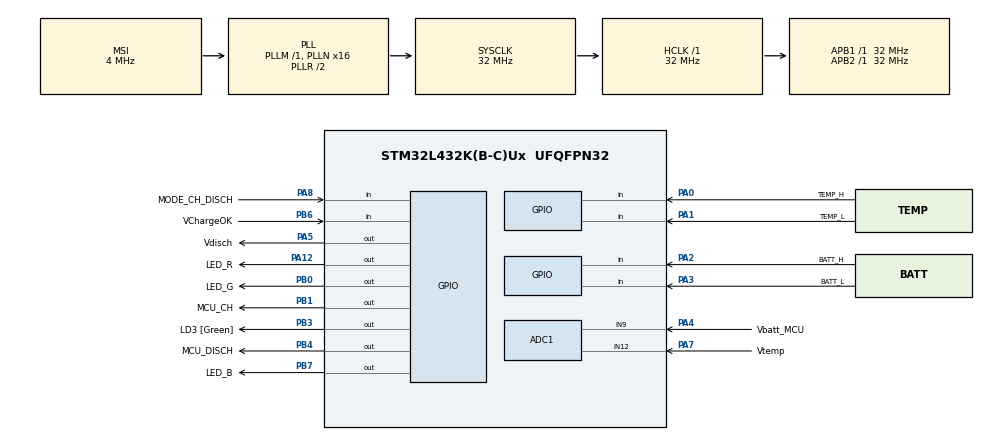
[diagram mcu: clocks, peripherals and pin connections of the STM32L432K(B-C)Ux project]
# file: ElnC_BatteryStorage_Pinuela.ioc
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ADC1.Channel-1\#ChannelRegularConversion=ADC_CHANNEL_9
ADC1.NbrOfConversionFlag=1
ADC1.OffsetNumber-1\#ChannelRegularConversion=ADC_OFFSET_NONE
ADC1.Rank-1\#ChannelRegularConversion=1
ADC1.SamplingTime-1\#ChannelRegularConversion=ADC_SAMPLETIME_2CYCLES_5
ADC1.master=1
Mcu.Family=STM32L4
Mcu.Name=STM32L432K(B-C)Ux
Mcu.Package=UFQFPN32
NVIC.PriorityGroup=NVIC_PRIORITYGROUP_4
PA0.GPIO_Label=TEMP_H
PA0.Signal=GPIO_Input
PA1.GPIO_Label=TEMP_L
PA1.Signal=GPIO_Input
PA12.GPIO_Label=LED_R
PA12.PinState=GPIO_PIN_SET
PA12.Signal=GPIO_Output
PA13\ (JTMS-SWDIO).GPIO_Label=SWDIO
PA13\ (JTMS-SWDIO).Mode=Serial_Wire
PA13\ (JTMS-SWDIO).Signal=SYS_JTMS-SWDIO
PA14\ (JTCK-SWCLK).GPIO_Label=SWCLK
PA14\ (JTCK-SWCLK).Mode=Serial_Wire
PA14\ (JTCK-SWCLK).Signal=SYS_JTCK-SWCLK
PA15\ (JTDI).GPIO_Label=VCP_RX
PA15\ (JTDI).Signal=USART2_RX
PA2.GPIO_Label=BATT_H
PA2.Signal=GPIO_Input
PA3.GPIO_Label=BATT_L
PA3.Signal=GPIO_Input
PA4.GPIO_Label=Vbatt_MCU
PA4.Signal=ADCx_IN9
PA5.GPIO_Label=Vdisch
PA5.Signal=GPIO_Output
PA7.GPIO_Label=Vtemp
PA7.Signal=ADCx_IN12
PA8.GPIO_Label=MODE_CH_DISCH
PA8.Signal=GPIO_Input
PB0.GPIO_Label=LED_G
PB0.PinState=GPIO_PIN_SET
PB0.Signal=GPIO_Output
PB1.GPIO_Label=MCU_CH
PB1.Signal=GPIO_Output
PB3\ (JTDO-TRACESWO).GPIO_Label=LD3 [Green]
PB3\ (JTDO-TRACESWO).Signal=GPIO_Output
PB4\ (NJTRST).GPIO_Label=MCU_DISCH
PB4\ (NJTRST).Signal=GPIO_Output
PB6.GPIO_Label=VChargeOK
PB6.Signal=GPIO_Input
PB7.GPIO_Label=LED_B
PB7.PinState=GPIO_PIN_SET
PB7.Signal=GPIO_Output
PC14-OSC32_IN\ (PC14).Mode=LSE-External-Oscillator
PC14-OSC32_IN\ (PC14).Signal=RCC_OSC32_IN
PC15-OSC32_OUT\ (PC15).Mode=LSE-External-Oscillator
PC15-OSC32_OUT\ (PC15).Signal=RCC_OSC32_OUT
ProjectManager.HeapSize=0x200
ProjectManager.StackSize=0x400
ProjectManager.TargetToolchain=STM32CubeIDE
RCC.ADCFreq_Value=32000000
RCC.AHBFreq_Value=32000000
RCC.APB1Freq_Value=32000000
RCC.APB1TimFreq_Value=32000000
RCC.APB2Freq_Value=32000000
RCC.APB2TimFreq_Value=32000000
RCC.CortexFreq_Value=32000000
RCC.HCLKFreq_Value=32000000
RCC.HSE_VALUE=8000000
RCC.HSI16_VALUE=16000000
RCC.HSI48_VALUE=48000000
RCC.HSI_VALUE=16000000
RCC.MSI_VALUE=4000000
RCC.PLLMUL=RCC_PLLMUL_4
RCC.PLLN=16
RCC.PLLSAI1N=16
RCC.SYSCLKFreq_VALUE=32000000
RCC.SYSCLKSource=RCC_SYSCLKSOURCE_PLLCLK
RCC.USBFreq_Value=32000000
RCC.VCOOutputFreq_Value=64000000
SH.ADCx_IN12.0=ADC1_IN12,IN12-Single-Ended
SH.ADCx_IN9.0=ADC1_IN9,IN9-Single-Ended
board=NUCLEO-L432KC

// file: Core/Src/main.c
/* USER CODE BEGIN Header */
/**
  ******************************************************************************
  * @file           : main.c
  * @brief          : Main program body
  ******************************************************************************
  * @attention
  *
  * Copyright (c) 2026 STMicroelectronics.
  * All rights reserved.
  *
  * This software is licensed under terms that can be found in the LICENSE file
  * in the root directory of this software component.
  * If no LICENSE file comes with this software, it is provided AS-IS.
  *
  ******************************************************************************
  */
/* USER CODE END Header */
#include "main.h"

/* USER CODE BEGIN Includes */
#include <stdio.h>
#include <string.h>
#include <stdbool.h>

/* USER CODE END Includes */

/* USER CODE BEGIN PD */

#define VBATT_STOCK_MIN     3.5f
#define VBATT_STOCK_MAX     3.8f
#define VBATT_FULL_CHARGE   4.1f

/* ===== LEDs Active LOW ===== */

#define LED_ON   GPIO_PIN_RESET
#define LED_OFF  GPIO_PIN_SET

/* ===== Macros Debug LEDs ===== */

#define SET_LED_R(state) do {                                      \
    signal_1_0.LED_R = (state);                                    \
    HAL_GPIO_WritePin(LED_R_GPIO_Port, LED_R_Pin,                  \
                      (state) ? LED_ON : LED_OFF);                 \
} while(0)

#define SET_LED_G(state) do {                                      \
    signal_1_0.LED_G = (state);                                    \
    HAL_GPIO_WritePin(LED_G_GPIO_Port, LED_G_Pin,                  \
                      (state) ? LED_ON : LED_OFF);                 \
} while(0)

#define SET_LED_B(state) do {                                      \
    signal_1_0.LED_B = (state);                                    \
    HAL_GPIO_WritePin(LED_B_GPIO_Port, LED_B_Pin,                  \
                      (state) ? LED_ON : LED_OFF);                 \
} while(0)

/* USER CODE END PD */

ADC_HandleTypeDef hadc1;

void SystemClock_Config(void);
static void MX_GPIO_Init(void);
static void MX_ADC1_Init(void);

/* USER CODE BEGIN 0 */

typedef enum
{
    STATE_NORMAL = 0,
    STATE_STOCK,
    STATE_CHARGE_STOCK,
    STATE_DISCHARGE_STOCK,
    STATE_ERROR

} System_State;

System_State system_state = STATE_NORMAL;

typedef struct {
    volatile uint32_t adc_value_ch9;
    volatile uint32_t adc_value_ch12;

    volatile float voltage_ch9_Vbatt;
    volatile float voltage_ch12_Vtemp;
} Voltage;

typedef struct
{
	/* ===== INPUTS ===== */

    bool Temperature_High;   	// PA0 -> TEMP_H
    bool Temperature_Low;    	// PA1 -> TEMP_L

    bool Batterie_High;      	// PA2 -> BATT_H
    bool Batterie_Low;       	// PA3 -> BATT_L

    bool Mode_Stock; 			// PA8 -> MODE_STOCK

    bool Charge_OK;          	// PB6 -> VChargeOK

    bool Vdisch;                  // PA5 -> Vdisch

    /* ===== OUTPUTS ===== */

    bool LED_R;                   // PA12 -> LED_R
    bool LED_B;                   // PB7 -> LED_B
    bool LED_G;                   // PB0 -> LED_G

    bool MCU_CH;                  // PB1 -> MCU_CH
    bool MCU_DISCH;               // PB4 -> MCU_DISCH

} Signal_1_0;

Voltage voltage = {0};
Signal_1_0 signal_1_0 = {0};

/* USER CODE END 0 */

int main(void)
{

  /* USER CODE BEGIN 1 */

	void Update_LEDs(void)
	{
	    static bool blink_state = false;

	    /* ===== RESET DEBUG STATES ===== */

	    SET_LED_R(false);
	    SET_LED_G(false);
	    SET_LED_B(false);

	    /* ===== ERROR MODE ===== */

	    if(signal_1_0.Temperature_High == false ||
	       signal_1_0.Temperature_Low  == false ||
	       signal_1_0.Batterie_High    == false ||
	       signal_1_0.Batterie_Low     == false)
	    {
	        blink_state = !blink_state;

	        if(blink_state == true)
	        {
	            SET_LED_R(true);
	            SET_LED_B(true);
	        }
	        else
	        {
	            SET_LED_R(false);
	            SET_LED_B(false);
	        }

	        SET_LED_G(false);

	        return;
	    }

	    /* ===== NORMAL STATES ===== */

	    switch(system_state)
	    {
	        case STATE_NORMAL:

	            if(signal_1_0.MCU_CH == true)
	            {
	                /* Charge normale */

	                SET_LED_R(true);
	                SET_LED_G(false);
	                SET_LED_B(false);
	            }
	            else
	            {
	                /* Batterie OK */

	                SET_LED_R(false);
	                SET_LED_G(true);
	                SET_LED_B(false);
	            }

	            break;

	        case STATE_STOCK:

	            /* Zone stockage OK */

	            SET_LED_R(false);
	            SET_LED_G(true);
	            SET_LED_B(false);

	            break;

	        case STATE_CHARGE_STOCK:

	            /* Charge stockage */

	            SET_LED_R(true);
	            SET_LED_G(false);
	            SET_LED_B(false);

	            break;

	        case STATE_DISCHARGE_STOCK:

	            /* Décharge stockage */

	            SET_LED_R(false);
	            SET_LED_G(false);
	            SET_LED_B(true);

	            break;

	        case STATE_ERROR:

	            SET_LED_R(true);
	            SET_LED_G(false);
	            SET_LED_B(true);

	            break;

	        default:

	            SET_LED_R(false);
	            SET_LED_G(false);
	            SET_LED_B(false);

	            break;
	    }
	}

  /* USER CODE END 1 */

  /* MCU Configuration--------------------------------------------------------*/

  /* Reset of all peripherals, Initializes the Flash interface and the Systick. */
  HAL_Init();

  /* Configure the system clock */
  SystemClock_Config();

  /* Initialize all configured peripherals */
  MX_GPIO_Init();
  MX_ADC1_Init();

  /* Infinite loop */
  /* USER CODE BEGIN WHILE */
  while (1)
  {

	  char msg[100];
	  HAL_GPIO_TogglePin(GPIOB, GPIO_PIN_3); // Toggle LD3

	  /* ===== ADC ===== */

	  ADC_ChannelConfTypeDef sConfig = {0};

	  /* ===== PA4 / ADC_CHANNEL_9 ===== */

	  sConfig.Channel = ADC_CHANNEL_9;
	  sConfig.Rank = ADC_REGULAR_RANK_1;
	  sConfig.SamplingTime = ADC_SAMPLETIME_247CYCLES_5;
	  sConfig.SingleDiff = ADC_SINGLE_ENDED;
	  sConfig.OffsetNumber = ADC_OFFSET_NONE;
	  sConfig.Offset = 0;

	  HAL_ADC_ConfigChannel(&hadc1, &sConfig);

	  HAL_ADC_Start(&hadc1);
	  HAL_ADC_PollForConversion(&hadc1, HAL_MAX_DELAY);

	  voltage.adc_value_ch9 = HAL_ADC_GetValue(&hadc1);

	  HAL_ADC_Stop(&hadc1);

	  /* ===== PA7 / ADC_CHANNEL_12 ===== */

	  sConfig.Channel = ADC_CHANNEL_12;

	  HAL_ADC_ConfigChannel(&hadc1, &sConfig);

	  HAL_ADC_Start(&hadc1);
	  HAL_ADC_PollForConversion(&hadc1, HAL_MAX_DELAY);

	  voltage.adc_value_ch12 = HAL_ADC_GetValue(&hadc1);

	  HAL_ADC_Stop(&hadc1);

	  /* ===== Conversion ===== */

	  voltage.voltage_ch9_Vbatt  = (voltage.adc_value_ch9  * 3.3f * 2) / 4095.0f;
	  voltage.voltage_ch12_Vtemp = (voltage.adc_value_ch12 * 3.3f) / 4095.0f;

	  /* ===== Délai ===== */

	  //HAL_Delay(3000); // Send every 1 second

	  /* ===== Lecture des pin 1/0 ===== */

	  /* ===== TEMP_H : PA0 ===== */

	  if(HAL_GPIO_ReadPin(GPIOA, GPIO_PIN_0) == GPIO_PIN_SET)
	  {
	      // PA0 = 1
	      signal_1_0.Temperature_High = true;
	  }
	  else
	  {
	      // PA0 = 0
	      signal_1_0.Temperature_High = false;
	  }

	  /* ----------------------------------- */

	  /* ===== TEMP_L : PA1 ===== */

	  if(HAL_GPIO_ReadPin(GPIOA, GPIO_PIN_1) == GPIO_PIN_SET)
	  {
	      // PA1 = 1
	      signal_1_0.Temperature_Low = true;
	  }
	  else
	  {
	      // PA1 = 0
	      signal_1_0.Temperature_Low = false;
	  }

	  /* ----------------------------------- */

	  /* ===== BATT_H : PA2 ===== */

	  if(HAL_GPIO_ReadPin(GPIOA, GPIO_PIN_2) == GPIO_PIN_SET)
	  {
	      // PA2 = 1
	      signal_1_0.Batterie_High = true;
	  }
	  else
	  {
	      // PA2 = 0
	      signal_1_0.Batterie_High = false;
	  }

	  /* ----------------------------------- */

	  /* ===== BATT_L : PA3 ===== */

	  if(HAL_GPIO_ReadPin(GPIOA, GPIO_PIN_3) == GPIO_PIN_SET)
	  {
	      // PA3 = 1
	      signal_1_0.Batterie_Low = true;
	  }
	  else
	  {
	      // PA3 = 0
	      signal_1_0.Batterie_Low = false;
	  }

	  /* ----------------------------------- */

	  /* ===== MODE_Stock : PA8 ===== */

	  if(HAL_GPIO_ReadPin(GPIOA, GPIO_PIN_8) == GPIO_PIN_SET)
	  {
	      // PA8 = 1
	      signal_1_0.Mode_Stock = true;
	  }
	  else
	  {
	      // PA8 = 0
	      signal_1_0.Mode_Stock = false;
	  }

	  /* ----------------------------------- */

	  /* ===== VChargeOK : PB6 ===== */

	  if(HAL_GPIO_ReadPin(GPIOB, GPIO_PIN_6) == GPIO_PIN_SET)
	  {
	      // PB6 = 1
	      signal_1_0.Charge_OK = true;
	  }
	  else
	  {
	      // PB6 = 0
	      signal_1_0.Charge_OK = false;
	  }

	  /* ===== Lecture MCU_CH : PB1 ===== */

	  if(HAL_GPIO_ReadPin(GPIOB, GPIO_PIN_1) == GPIO_PIN_SET)
	  {
	      // PB1 = 1
	      signal_1_0.MCU_CH = true;
	  }
	  else
	  {
	      // PB1 = 0
	      signal_1_0.MCU_CH = false;
	  }

	  /* ----------------------------------- */

	  /* ===== Lecture MCU_DISCH : PB4 ===== */

	  if(HAL_GPIO_ReadPin(GPIOB, GPIO_PIN_4) == GPIO_PIN_SET)
	  {
	      // PB4 = 1
	      signal_1_0.MCU_DISCH = true;
	  }
	  else
	  {
	      // PB4 = 0
	      signal_1_0.MCU_DISCH = false;
	  }

	  /* ===== Machine d'état ===== */

	  switch(system_state)
	  {
	      case STATE_NORMAL:

	          HAL_GPIO_WritePin(MCU_DISCH_GPIO_Port, MCU_DISCH_Pin, GPIO_PIN_RESET);

	          if(signal_1_0.Mode_Stock == true)
	          {
	              system_state = STATE_STOCK;
	          }
	          else
	          {
	              if(voltage.voltage_ch9_Vbatt < VBATT_FULL_CHARGE)
	              {
	                  HAL_GPIO_WritePin(MCU_CH_GPIO_Port, MCU_CH_Pin, GPIO_PIN_SET);
	              }
	              else
	              {
	                  HAL_GPIO_WritePin(MCU_CH_GPIO_Port, MCU_CH_Pin, GPIO_PIN_RESET);
	              }
	          }

	          break;

	      case STATE_STOCK:

	          if(signal_1_0.Mode_Stock == false)
	          {
	              system_state = STATE_NORMAL;
	          }
	          else if(voltage.voltage_ch9_Vbatt < VBATT_STOCK_MIN)
	          {
	              system_state = STATE_CHARGE_STOCK;
	          }
	          else if(voltage.voltage_ch9_Vbatt > VBATT_STOCK_MAX)
	          {
	              system_state = STATE_DISCHARGE_STOCK;
	          }
	          else
	          {
	              HAL_GPIO_WritePin(MCU_CH_GPIO_Port, MCU_CH_Pin, GPIO_PIN_RESET);
	              HAL_GPIO_WritePin(MCU_DISCH_GPIO_Port, MCU_DISCH_Pin, GPIO_PIN_RESET);
	          }

	          break;

	      case STATE_CHARGE_STOCK:

	          if(signal_1_0.Mode_Stock == false)
	          {
	              system_state = STATE_NORMAL;
	          }
	          else
	          {
	              HAL_GPIO_WritePin(MCU_CH_GPIO_Port, MCU_CH_Pin, GPIO_PIN_SET);
	              HAL_GPIO_WritePin(MCU_DISCH_GPIO_Port, MCU_DISCH_Pin, GPIO_PIN_RESET);

	              if(voltage.voltage_ch9_Vbatt >= VBATT_STOCK_MAX)
	              {
	                  system_state = STATE_STOCK;
	              }
	          }

	          break;

	      case STATE_DISCHARGE_STOCK:

	          if(signal_1_0.Mode_Stock == false)
	          {
	              system_state = STATE_NORMAL;
	          }
	          else
	          {
	              HAL_GPIO_WritePin(MCU_CH_GPIO_Port, MCU_CH_Pin, GPIO_PIN_RESET);
	              HAL_GPIO_WritePin(MCU_DISCH_GPIO_Port, MCU_DISCH_Pin, GPIO_PIN_SET);

	              if(voltage.voltage_ch9_Vbatt <= VBATT_STOCK_MAX)
	              {
	                  system_state = STATE_STOCK;
	              }
	          }

	          break;

	      case STATE_ERROR:

	          HAL_GPIO_WritePin(MCU_CH_GPIO_Port, MCU_CH_Pin, GPIO_PIN_RESET);
	          HAL_GPIO_WritePin(MCU_DISCH_GPIO_Port, MCU_DISCH_Pin, GPIO_PIN_RESET);

	          break;

	      default:

	          system_state = STATE_ERROR;

	          break;
	  }

	  Update_LEDs();
	  HAL_Delay(200);

    /* USER CODE END WHILE */

  }
}

void SystemClock_Config(void)
{
  RCC_OscInitTypeDef RCC_OscInitStruct = {0};
  RCC_ClkInitTypeDef RCC_ClkInitStruct = {0};

  /** Configure the main internal regulator output voltage
  */
  if (HAL_PWREx_ControlVoltageScaling(PWR_REGULATOR_VOLTAGE_SCALE1) != HAL_OK)
  {
    Error_Handler();
  }

  /** Configure LSE Drive Capability
  */
  HAL_PWR_EnableBkUpAccess();
  __HAL_RCC_LSEDRIVE_CONFIG(RCC_LSEDRIVE_LOW);

  /** Initializes the RCC Oscillators according to the specified parameters
  * in the RCC_OscInitTypeDef structure.
  */
  RCC_OscInitStruct.OscillatorType = RCC_OSCILLATORTYPE_LSE|RCC_OSCILLATORTYPE_MSI;
  RCC_OscInitStruct.LSEState = RCC_LSE_ON;
  RCC_OscInitStruct.MSIState = RCC_MSI_ON;
  RCC_OscInitStruct.MSICalibrationValue = 0;
  RCC_OscInitStruct.MSIClockRange = RCC_MSIRANGE_6;
  RCC_OscInitStruct.PLL.PLLState = RCC_PLL_ON;
  RCC_OscInitStruct.PLL.PLLSource = RCC_PLLSOURCE_MSI;
  RCC_OscInitStruct.PLL.PLLM = 1;
  RCC_OscInitStruct.PLL.PLLN = 16;
  RCC_OscInitStruct.PLL.PLLP = RCC_PLLP_DIV7;
  RCC_OscInitStruct.PLL.PLLQ = RCC_PLLQ_DIV2;
  RCC_OscInitStruct.PLL.PLLR = RCC_PLLR_DIV2;
  if (HAL_RCC_OscConfig(&RCC_OscInitStruct) != HAL_OK)
  {
    Error_Handler();
  }

  /** Initializes the CPU, AHB and APB buses clocks
  */
  RCC_ClkInitStruct.ClockType = RCC_CLOCKTYPE_HCLK|RCC_CLOCKTYPE_SYSCLK
                              |RCC_CLOCKTYPE_PCLK1|RCC_CLOCKTYPE_PCLK2;
  RCC_ClkInitStruct.SYSCLKSource = RCC_SYSCLKSOURCE_PLLCLK;
  RCC_ClkInitStruct.AHBCLKDivider = RCC_SYSCLK_DIV1;
  RCC_ClkInitStruct.APB1CLKDivider = RCC_HCLK_DIV1;
  RCC_ClkInitStruct.APB2CLKDivider = RCC_HCLK_DIV1;

  if (HAL_RCC_ClockConfig(&RCC_ClkInitStruct, FLASH_LATENCY_1) != HAL_OK)
  {
    Error_Handler();
  }

  /** Enable MSI Auto calibration
  */
  HAL_RCCEx_EnableMSIPLLMode();
}

static void MX_ADC1_Init(void)
{

  ADC_ChannelConfTypeDef sConfig = {0};

  /** Common config
  */
  hadc1.Instance = ADC1;
  hadc1.Init.ClockPrescaler = ADC_CLOCK_ASYNC_DIV1;
  hadc1.Init.Resolution = ADC_RESOLUTION_12B;
  hadc1.Init.DataAlign = ADC_DATAALIGN_RIGHT;
  hadc1.Init.ScanConvMode = ADC_SCAN_DISABLE;
  hadc1.Init.EOCSelection = ADC_EOC_SINGLE_CONV;
  hadc1.Init.LowPowerAutoWait = DISABLE;
  hadc1.Init.ContinuousConvMode = DISABLE;
  hadc1.Init.NbrOfConversion = 1;
  hadc1.Init.DiscontinuousConvMode = DISABLE;
  hadc1.Init.ExternalTrigConv = ADC_SOFTWARE_START;
  hadc1.Init.ExternalTrigConvEdge = ADC_EXTERNALTRIGCONVEDGE_NONE;
  hadc1.Init.DMAContinuousRequests = DISABLE;
  hadc1.Init.Overrun = ADC_OVR_DATA_PRESERVED;
  hadc1.Init.OversamplingMode = DISABLE;
  if (HAL_ADC_Init(&hadc1) != HAL_OK)
  {
    Error_Handler();
  }

  /** Configure Regular Channel
  */
  sConfig.Channel = ADC_CHANNEL_9;
  sConfig.Rank = ADC_REGULAR_RANK_1;
  sConfig.SamplingTime = ADC_SAMPLETIME_2CYCLES_5;
  sConfig.SingleDiff = ADC_SINGLE_ENDED;
  sConfig.OffsetNumber = ADC_OFFSET_NONE;
  sConfig.Offset = 0;
  if (HAL_ADC_ConfigChannel(&hadc1, &sConfig) != HAL_OK)
  {
    Error_Handler();
  }

}

static void MX_GPIO_Init(void)
{
  GPIO_InitTypeDef GPIO_InitStruct = {0};

  /* GPIO Ports Clock Enable */
  __HAL_RCC_GPIOC_CLK_ENABLE();
  __HAL_RCC_GPIOA_CLK_ENABLE();
  __HAL_RCC_GPIOB_CLK_ENABLE();

  /*Configure GPIO pin Output Level */
  HAL_GPIO_WritePin(Vdisch_GPIO_Port, Vdisch_Pin, GPIO_PIN_RESET);

  /*Configure GPIO pin Output Level */
  HAL_GPIO_WritePin(GPIOB, LED_G_Pin|LED_B_Pin, GPIO_PIN_SET);

  /*Configure GPIO pin Output Level */
  HAL_GPIO_WritePin(GPIOB, MCU_CH_Pin|LD3_Pin|MCU_DISCH_Pin, GPIO_PIN_RESET);

  /*Configure GPIO pin Output Level */
  HAL_GPIO_WritePin(LED_R_GPIO_Port, LED_R_Pin, GPIO_PIN_SET);

  /*Configure GPIO pins : TEMP_H_Pin TEMP_L_Pin BATT_H_Pin BATT_L_Pin
                           MODE_CH_DISCH_Pin */
  GPIO_InitStruct.Pin = TEMP_H_Pin|TEMP_L_Pin|BATT_H_Pin|BATT_L_Pin
                          |MODE_CH_DISCH_Pin;
  GPIO_InitStruct.Mode = GPIO_MODE_INPUT;
  GPIO_InitStruct.Pull = GPIO_NOPULL;
  HAL_GPIO_Init(GPIOA, &GPIO_InitStruct);

  /*Configure GPIO pins : Vdisch_Pin LED_R_Pin */
  GPIO_InitStruct.Pin = Vdisch_Pin|LED_R_Pin;
  GPIO_InitStruct.Mode = GPIO_MODE_OUTPUT_PP;
  GPIO_InitStruct.Pull = GPIO_NOPULL;
  GPIO_InitStruct.Speed = GPIO_SPEED_FREQ_LOW;
  HAL_GPIO_Init(GPIOA, &GPIO_InitStruct);

  /*Configure GPIO pins : LED_G_Pin MCU_CH_Pin LD3_Pin MCU_DISCH_Pin
                           LED_B_Pin */
  GPIO_InitStruct.Pin = LED_G_Pin|MCU_CH_Pin|LD3_Pin|MCU_DISCH_Pin
                          |LED_B_Pin;
  GPIO_InitStruct.Mode = GPIO_MODE_OUTPUT_PP;
  GPIO_InitStruct.Pull = GPIO_NOPULL;
  GPIO_InitStruct.Speed = GPIO_SPEED_FREQ_LOW;
  HAL_GPIO_Init(GPIOB, &GPIO_InitStruct);

  /*Configure GPIO pin : VChargeOK_Pin */
  GPIO_InitStruct.Pin = VChargeOK_Pin;
  GPIO_InitStruct.Mode = GPIO_MODE_INPUT;
  GPIO_InitStruct.Pull = GPIO_NOPULL;
  HAL_GPIO_Init(VChargeOK_GPIO_Port, &GPIO_InitStruct);

}

void Error_Handler(void)
{
  __disable_irq();
  while (1)
  {
  }
}
